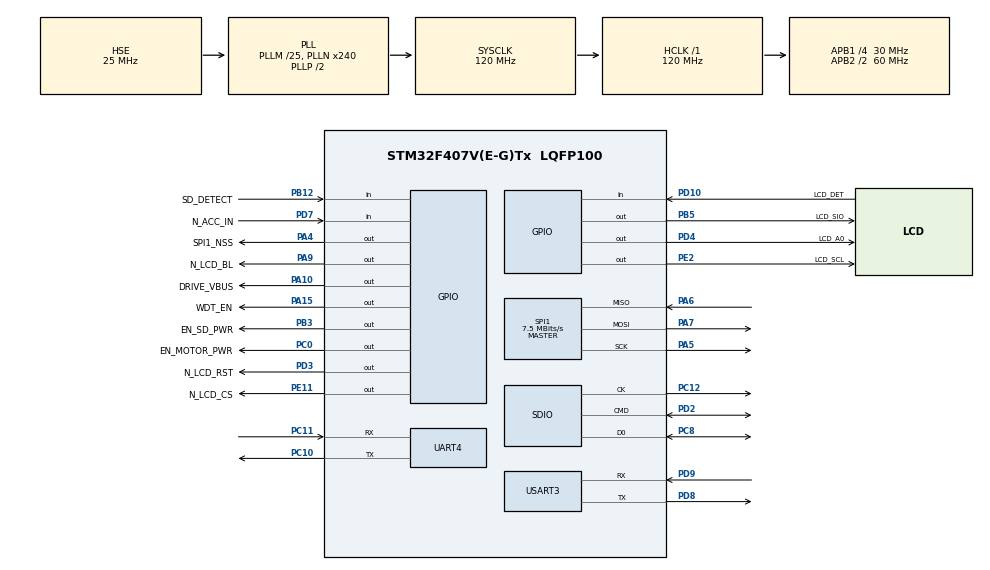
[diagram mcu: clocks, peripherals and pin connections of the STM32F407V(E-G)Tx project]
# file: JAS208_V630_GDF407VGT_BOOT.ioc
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FATFS.BSP.number=1
FATFS.USE_DMA_CODE_SD=1
FATFS._FS_LOCK=10
FATFS._FS_TIMEOUT=1000
FATFS._USE_LFN=2
FATFS._VOLUMES=3
FATFS0.BSP.STBoard=false
FATFS0.BSP.api=Unknown
FATFS0.BSP.i2caddr=0
FATFS0.BSP.instance=PB12
FATFS0.BSP.ip=GPIO
FATFS0.BSP.mode=Input
FATFS0.BSP.name=Detect_SDIO
FATFS0.BSP.solution=PB12
Mcu.Family=STM32F4
Mcu.Name=STM32F407V(E-G)Tx
Mcu.Package=LQFP100
NVIC.PriorityGroup=NVIC_PRIORITYGROUP_4
NVIC.TIM2_IRQn=true\:0\:0\:false\:false\:true\:false\:true
NVIC.TIM3_IRQn=true\:5\:0\:true\:false\:true\:true\:true
NVIC.TimeBase=TIM2_IRQn
NVIC.TimeBaseIP=TIM2
PA10.GPIO_Label=DRIVE_VBUS
PA10.GPIO_Speed=GPIO_SPEED_FREQ_HIGH
PA10.Signal=GPIO_Output
PA13.Mode=Serial_Wire
PA13.Signal=SYS_JTMS-SWDIO
PA14.Mode=Serial_Wire
PA14.Signal=SYS_JTCK-SWCLK
PA15.GPIO_Label=WDT_EN
PA15.GPIO_Speed=GPIO_SPEED_FREQ_HIGH
PA15.PinState=GPIO_PIN_SET
PA15.Signal=GPIO_Output
PA4.GPIO_Label=SPI1_NSS
PA4.GPIO_Speed=GPIO_SPEED_FREQ_HIGH
PA4.PinState=GPIO_PIN_SET
PA4.Signal=GPIO_Output
PA5.Mode=Full_Duplex_Master
PA5.Signal=SPI1_SCK
PA6.Mode=Full_Duplex_Master
PA6.Signal=SPI1_MISO
PA7.Mode=Full_Duplex_Master
PA7.Signal=SPI1_MOSI
PA9.GPIO_Label=N_LCD_BL
PA9.GPIO_Speed=GPIO_SPEED_FREQ_HIGH
PA9.PinState=GPIO_PIN_SET
PA9.Signal=GPIO_Output
PB12.GPIO_Label=SD_DETECT
PB12.Signal=GPIO_Input
PB3.GPIO_Label=EN_SD_PWR
PB3.GPIO_Speed=GPIO_SPEED_FREQ_VERY_HIGH
PB3.PinState=GPIO_PIN_RESET
PB3.Signal=GPIO_Output
PB5.GPIO_Label=LCD_SIO
PB5.GPIO_Speed=GPIO_SPEED_FREQ_HIGH
PB5.Signal=GPIO_Output
PC0.GPIO_Label=EN_MOTOR_PWR
PC0.GPIO_Speed=GPIO_SPEED_FREQ_HIGH
PC0.PinState=GPIO_PIN_SET
PC0.Signal=GPIO_Output
PC10.Mode=Asynchronous
PC10.Signal=UART4_TX
PC11.Mode=Asynchronous
PC11.Signal=UART4_RX
PC12.Mode=SD_1_bit
PC12.Signal=SDIO_CK
PC14-OSC32_IN.Mode=LSE-External-Oscillator
PC14-OSC32_IN.Signal=RCC_OSC32_IN
PC15-OSC32_OUT.Mode=LSE-External-Oscillator
PC15-OSC32_OUT.Signal=RCC_OSC32_OUT
PC8.Mode=SD_1_bit
PC8.Signal=SDIO_D0
PD10.GPIO_Label=LCD_DET
PD10.Signal=GPIO_Input
PD2.Mode=SD_1_bit
PD2.Signal=SDIO_CMD
PD3.GPIO_Label=N_LCD_RST
PD3.GPIO_Speed=GPIO_SPEED_FREQ_HIGH
PD3.PinState=GPIO_PIN_SET
PD3.Signal=GPIO_Output
PD4.GPIO_Label=LCD_A0
PD4.GPIO_Speed=GPIO_SPEED_FREQ_HIGH
PD4.Signal=GPIO_Output
PD7.GPIO_Label=N_ACC_IN
PD7.Signal=GPIO_Input
PD8.Mode=Asynchronous
PD8.Signal=USART3_TX
PD9.Mode=Asynchronous
PD9.Signal=USART3_RX
PE11.GPIO_Label=N_LCD_CS
PE11.GPIO_Speed=GPIO_SPEED_FREQ_HIGH
PE11.PinState=GPIO_PIN_SET
PE11.Signal=GPIO_Output
PE2.GPIO_Label=LCD_SCL
PE2.GPIO_Speed=GPIO_SPEED_FREQ_HIGH
PE2.Signal=GPIO_Output
PH0-OSC_IN.Mode=HSE-External-Oscillator
PH0-OSC_IN.Signal=RCC_OSC_IN
PH1-OSC_OUT.Mode=HSE-External-Oscillator
PH1-OSC_OUT.Signal=RCC_OSC_OUT
ProjectManager.HeapSize=0x2000
ProjectManager.StackSize=0x4000
ProjectManager.TargetToolchain=MDK-ARM V5.27
RCC.48MHZClocksFreq_Value=48000000
RCC.AHBFreq_Value=120000000
RCC.APB1CLKDivider=RCC_HCLK_DIV4
RCC.APB1Freq_Value=30000000
RCC.APB1TimFreq_Value=60000000
RCC.APB2CLKDivider=RCC_HCLK_DIV2
RCC.APB2Freq_Value=60000000
RCC.APB2TimFreq_Value=120000000
RCC.CortexFreq_Value=120000000
RCC.HCLKFreq_Value=120000000
RCC.HSEDivPLL=RCC_HSE_PREDIV_DIV5
RCC.HSE_Timout=100
RCC.HSE_VALUE=25000000
RCC.HSI_VALUE=16000000
RCC.PLLM=25
RCC.PLLMUL=RCC_PLL_MUL6
RCC.PLLN=240
RCC.PLLQ=5
RCC.PLLSourceVirtual=RCC_PLLSOURCE_HSE
RCC.Prediv1Source=RCC_PREDIV1_SOURCE_PLL2
RCC.Prediv2=RCC_HSE_PREDIV2_DIV5
RCC.RCC_RTC_Clock_Source=RCC_RTCCLKSOURCE_LSI
RCC.RCC_RTC_Clock_SourceVirtual=RCC_RTCCLKSOURCE_LSE
RCC.SYSCLKFreq_VALUE=120000000
RCC.SYSCLKSource=RCC_SYSCLKSOURCE_PLLCLK
RCC.USBFreq_Value=48000000
RCC.USBPrescaler=RCC_USBCLKSOURCE_PLL_DIV2
RCC.VCOOutputFreq_Value=240000000
SDIO.ClockDiv=1
SPI1.BaudRatePrescaler=SPI_BAUDRATEPRESCALER_8
SPI1.CLKPhase=SPI_PHASE_2EDGE
SPI1.CLKPolarity=SPI_POLARITY_HIGH
SPI1.CalculateBaudRate=7.5 MBits/s
SPI1.Direction=SPI_DIRECTION_2LINES
SPI1.Mode=SPI_MODE_MASTER
SPI1.VirtualType=VM_MASTER
TIM3.AutoReloadPreload=TIM_AUTORELOAD_PRELOAD_ENABLE
TIM3.CounterMode=TIM_COUNTERMODE_UP
TIM3.Period=9999
TIM3.Prescaler=11999
UART4.VirtualMode=Asynchronous
USART3.VirtualMode=VM_ASYNC
VP_FATFS_VS_Generic.Mode=User_defined
VP_FATFS_VS_SDIO.Mode=SDIO
VP_SYS_VS_tim2.Mode=TIM2
VP_TIM3_VS_ClockSourceINT.Mode=Internal
board=custom

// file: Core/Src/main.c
/* USER CODE BEGIN Header */
/**
 ******************************************************************************
 * @file           : main.c
 * @brief          : Main program body
 ******************************************************************************
 * @attention
 *
 * <h2><center>&copy; Copyright (c) 2019 STMicroelectronics.
 * All rights reserved.</center></h2>
 *
 * This software component is licensed by ST under Ultimate Liberty license
 * SLA0044, the "License"; You may not use this file except in compliance with
 * the License. You may obtain a copy of the License at:
 *                             www.st.com/SLA0044
 *
 ******************************************************************************
 */
/* USER CODE END Header */
#include "main.h"
#include "fatfs.h"

/* USER CODE BEGIN Includes */

#include <stdio.h>

#include "Config.h"
#include "Default.h"
#include "IAP_Func.h"
#include "LCD_Key.h"
#include "SD_Module.h"
#include "System.h"
#include "USB_Module.h"
#include "Version.h"

/* USER CODE END Includes */

SD_HandleTypeDef hsd;

SPI_HandleTypeDef hspi1;

TIM_HandleTypeDef htim3;

UART_HandleTypeDef huart4;
UART_HandleTypeDef huart3;

/* USER CODE BEGIN PV */

pFunction Jump_To_Application;

uint32_t JumpAddress;

/* USER CODE END PV */

void SystemClock_Config(void);
static void MX_GPIO_Init(void);
static void MX_SDIO_SD_Init(void);
static void MX_SPI1_Init(void);
static void MX_TIM3_Init(void);
static void MX_UART4_Init(void);
static void MX_USART3_UART_Init(void);
/* USER CODE BEGIN PFP */

#if ENABLE_DEBUG_MSG
#ifdef __GNUC__
#define PUTCHAR_PROTOTYPE int __io_putchar(int ch)
#else
#define PUTCHAR_PROTOTYPE int fputc(int ch, FILE *f)
#endif /* __GNUC__ */
#endif

static void JumpToApp(void);

static void DFUCheck(void);

/* USER CODE END PFP */

int main(void)
{

    /* MCU Configuration--------------------------------------------------------*/

    /* Reset of all peripherals, Initializes the Flash interface and the Systick. */
    HAL_Init();

    /* Configure the system clock */
    SystemClock_Config();

    /* Initialize all configured peripherals */
    MX_GPIO_Init();
    MX_SDIO_SD_Init();
    MX_SPI1_Init();
    MX_TIM3_Init();
    MX_UART4_Init();
    MX_USART3_UART_Init();
    MX_FATFS_Init();
    /* USER CODE BEGIN 2 */
    char cUpgradeFileName[30];

    HAL_PWR_EnableBkUpAccess();

    DFUCheck();

    System_Init();

    HAL_TIM_Base_Start_IT(&htim3);

    HAL_Delay(10);

    uint32_t u32BKP_DFU_CHK = HW_ReadBackupRegister(BKP_DFU_CHK);

    uint16_t u16TimeOut = 500;

    while (u16TimeOut-- && (bUSB_Ready == FALSE))
    {
        USBH_Process(&usb_host_msc);

        HAL_Delay(1);
    }

    // #if ENABLE_DEBUG_MSG
    // printf("\r\n> Check for Chinese font file...");
    // #endif

    if (bUSB_Ready)
        if (USB_CheckFileExist((char *)CHINESE_FONT_FILE))
        {
#if ENABLE_DEBUG_MSG
            printf("\r\n> Character font file exists in USB.");
#endif

            for (int i = 0; i < 3; i++)
            {
                bool bRes = IAP_SaveChineseFont(&USBHFatFS, USBHPath, DRV_USB);

                if (bRes)
                    break;
            }
        }

    if (SD_FS_GetStatus())
        if (SD_CheckFileExist((char *)CHINESE_FONT_FILE))
        {
#if ENABLE_DEBUG_MSG
            printf("\r\n> Character font file exists in SD.");
#endif

            for (int i = 0; i < 3; i++)
            {
                bool bRes = IAP_SaveChineseFont(&USERFatFS, USERPath, DRV_USER);

                if (bRes)
                    break;
            }
        }

    if (u32BKP_DFU_CHK == BKP_LOAD_VALUE)
    {
#if ENABLE_DEBUG_MSG
        printf("\r\n> Load firmware image from ExFlash.");
#endif

        HW_WriteBackupRegister(BKP_DFU_CHK, BKP_RST_VALUE);

        IAP_LoadFWImage();
    }

    sprintf(cUpgradeFileName, "%s_%02d_%02d_%02d.%s", DEVICE_TYPE,
            MODEL_NAME, CUSTOMER_TYPE, HW_VER, UPGRADE_FILE_EXT);

    // #if ENABLE_DEBUG_MSG
    // printf("\r\n> Check for upgrade file:%s...", cUpgradeFileName);
    // #endif

    for (int i = 0; i < 3; i++)
    {
        if (bUSB_Ready)
        {
            if (USB_CheckFileExist(cUpgradeFileName))
            {
#if ENABLE_DEBUG_MSG
                printf("\r\n> Upgrade file exists in USB.");
#endif

                IAP_Process(&USBHFatFS, USBHPath, DRV_USB);
            }
        }

        if (SD_FS_GetStatus())
            if (SD_CheckFileExist(cUpgradeFileName))
            {
#if ENABLE_DEBUG_MSG
                printf("\r\n> Upgrade file exists in SD.");
#endif

                IAP_Process(&USERFatFS, USERPath, DRV_USER);
            }

        HAL_Delay(1);
    }

    // Test if user code is programmed starting from user start code address
    if (((*(__IO uint32_t *)APPLICATION_ADDR) & 0x2FFE0000) == 0x20000000)
    {
        HW_WriteBackupRegister(BKP_DFU_CHK, BKP_JUMP_VALUE);

        // #if ENABLE_DEBUG_MSG
        // printf("\r\n>>> GO TO APPLICATION...\r\n");
        // #endif

        System_Reset();
    }
    else
    {
        const uint32_t u32ExFlashTempAddr = EXFLASH_TEMP_START_ADDR;
        uint32_t u32AddrChk = 0;
        uint32_t u32ProgSize = 0;
        MX25L_StatusTypeDef mxlRes;

#if ENABLE_DEBUG_MSG
        printf("\r\n>>> FOUND NO PROGRAM FOR APPLICATION!!! TRY TO REINSTALL BACKUP FIRMWARE...");
#endif

        mxlRes = MX25L_MultiBytesRead(u32ExFlashTempAddr, (uint8_t *)&u32AddrChk, 4);

        if (mxlRes == MX25L_OK)
        {
            if ((u32AddrChk & 0x2FFE0000) == 0x20000000)
            {
                // mxlRes = MX25L_MultiBytesRead(EXFLASH_TEMP_SIZE_START_ADDR, (uint8_t *)&u32ProgSize, 4);

                // if((mxlRes != MX25L_OK) || (u32ProgSize > (PROGRAM_SIZE - sizeof(mem32DatBuf))))
                //{
                //	u32ProgSize = PROGRAM_SIZE - sizeof(mem32DatBuf);
                // }

                u32ProgSize = PROGRAM_SIZE - sizeof(mem32DatBuf);

                HW_WriteBackupRegister(BKP_FW_SIZE, u32ProgSize);

                IAP_LoadFWImage();
            }
            else
            {
#if ENABLE_DEBUG_MSG
                printf("\r\n>>> NO VALID BACKUP FIRMWARE. PLEASE REINSTALL FIRMWARE");
#endif
            }
        }
        else
        {
#if ENABLE_DEBUG_MSG
            printf("\r\n>>> NO VALID BACKUP FIRMWARE. PLEASE REINSTALL FIRMWARE");
#endif
        }
    }

    /* USER CODE END 2 */

    /* Infinite loop */
    /* USER CODE BEGIN WHILE */
#if HW_TYPE == HW_JAS106
    uint16_t u16Cnt = 0;
#elif HW_TYPE == HW_JAS208
    const char cMsg1[] = "No firmware";

    System_IO_3V3_Enable();

    HAL_Delay(100);

    // Only show screen if ACC is ON
    if (HW_PBGetState(N_ACC_IN) == 0)
        LCD_Init();

    LCD_ScreenClear();

    LCD_DisplayMsg((char *)cMsg1, 1, 1);
#endif

    while (1)
    {
        USBH_Process(&usb_host_msc);
        /* USER CODE END WHILE */

        /* USER CODE BEGIN 3 */
        if (bUSB_Ready)
            if (USB_CheckFileExist(cUpgradeFileName))
            {
#if ENABLE_DEBUG_MSG
                printf("\r\n> Upgrade file exists in USB.");
#endif

                LCD_DisplayMsg((char *)cMsg1, 1, 1);

                IAP_Process(&USBHFatFS, USBHPath, DRV_USB);
            }

        if (SD_FS_GetStatus())
            if (SD_CheckFileExist(cUpgradeFileName))
            {
#if ENABLE_DEBUG_MSG
                printf("\r\n> Upgrade file exists in SD.");
#endif

                IAP_Process(&USERFatFS, USERPath, DRV_USER);
            }

#if HW_TYPE == HW_JAS106
        u16Cnt++;

        if (u16Cnt == 30)
        {
            HW_PBClr(LED7);
        }
        else if (u16Cnt == 60)
        {
            HW_PBSet(LED7);

            u16Cnt = 0;
        }
#endif

        // HAL_Delay(1);
    }
    /* USER CODE END 3 */
}

void SystemClock_Config(void)
{
    RCC_OscInitTypeDef RCC_OscInitStruct = {0};
    RCC_ClkInitTypeDef RCC_ClkInitStruct = {0};

    /** Configure the main internal regulator output voltage
     */
    __HAL_RCC_PWR_CLK_ENABLE();
    __HAL_PWR_VOLTAGESCALING_CONFIG(PWR_REGULATOR_VOLTAGE_SCALE1);
    /** Initializes the RCC Oscillators according to the specified parameters
     * in the RCC_OscInitTypeDef structure.
     */
    RCC_OscInitStruct.OscillatorType = RCC_OSCILLATORTYPE_HSE;
    RCC_OscInitStruct.HSEState = RCC_HSE_ON;
    RCC_OscInitStruct.PLL.PLLState = RCC_PLL_ON;
    RCC_OscInitStruct.PLL.PLLSource = RCC_PLLSOURCE_HSE;
    RCC_OscInitStruct.PLL.PLLM = 25;
    RCC_OscInitStruct.PLL.PLLN = 240;
    RCC_OscInitStruct.PLL.PLLP = RCC_PLLP_DIV2;
    RCC_OscInitStruct.PLL.PLLQ = 5;
    if (HAL_RCC_OscConfig(&RCC_OscInitStruct) != HAL_OK)
    {
        Error_Handler();
    }
    /** Initializes the CPU, AHB and APB buses clocks
     */
    RCC_ClkInitStruct.ClockType = RCC_CLOCKTYPE_HCLK | RCC_CLOCKTYPE_SYSCLK | RCC_CLOCKTYPE_PCLK1 | RCC_CLOCKTYPE_PCLK2;
    RCC_ClkInitStruct.SYSCLKSource = RCC_SYSCLKSOURCE_PLLCLK;
    RCC_ClkInitStruct.AHBCLKDivider = RCC_SYSCLK_DIV1;
    RCC_ClkInitStruct.APB1CLKDivider = RCC_HCLK_DIV4;
    RCC_ClkInitStruct.APB2CLKDivider = RCC_HCLK_DIV2;

    if (HAL_RCC_ClockConfig(&RCC_ClkInitStruct, FLASH_LATENCY_3) != HAL_OK)
    {
        Error_Handler();
    }
}

static void MX_SDIO_SD_Init(void)
{

    hsd.Instance = SDIO;
    hsd.Init.ClockEdge = SDIO_CLOCK_EDGE_RISING;
    hsd.Init.ClockBypass = SDIO_CLOCK_BYPASS_DISABLE;
    hsd.Init.ClockPowerSave = SDIO_CLOCK_POWER_SAVE_DISABLE;
    hsd.Init.BusWide = SDIO_BUS_WIDE_1B;
    hsd.Init.HardwareFlowControl = SDIO_HARDWARE_FLOW_CONTROL_DISABLE;
    hsd.Init.ClockDiv = 1;
}

static void MX_SPI1_Init(void)
{

    /* SPI1 parameter configuration*/
    hspi1.Instance = SPI1;
    hspi1.Init.Mode = SPI_MODE_MASTER;
    hspi1.Init.Direction = SPI_DIRECTION_2LINES;
    hspi1.Init.DataSize = SPI_DATASIZE_8BIT;
    hspi1.Init.CLKPolarity = SPI_POLARITY_HIGH;
    hspi1.Init.CLKPhase = SPI_PHASE_2EDGE;
    hspi1.Init.NSS = SPI_NSS_SOFT;
    hspi1.Init.BaudRatePrescaler = SPI_BAUDRATEPRESCALER_8;
    hspi1.Init.FirstBit = SPI_FIRSTBIT_MSB;
    hspi1.Init.TIMode = SPI_TIMODE_DISABLE;
    hspi1.Init.CRCCalculation = SPI_CRCCALCULATION_DISABLE;
    hspi1.Init.CRCPolynomial = 10;
    if (HAL_SPI_Init(&hspi1) != HAL_OK)
    {
        Error_Handler();
    }
}

static void MX_TIM3_Init(void)
{

    TIM_ClockConfigTypeDef sClockSourceConfig = {0};
    TIM_MasterConfigTypeDef sMasterConfig = {0};

    htim3.Instance = TIM3;
    htim3.Init.Prescaler = 11999;
    htim3.Init.CounterMode = TIM_COUNTERMODE_UP;
    htim3.Init.Period = 9999;
    htim3.Init.ClockDivision = TIM_CLOCKDIVISION_DIV1;
    htim3.Init.AutoReloadPreload = TIM_AUTORELOAD_PRELOAD_ENABLE;
    if (HAL_TIM_Base_Init(&htim3) != HAL_OK)
    {
        Error_Handler();
    }
    sClockSourceConfig.ClockSource = TIM_CLOCKSOURCE_INTERNAL;
    if (HAL_TIM_ConfigClockSource(&htim3, &sClockSourceConfig) != HAL_OK)
    {
        Error_Handler();
    }
    sMasterConfig.MasterOutputTrigger = TIM_TRGO_RESET;
    sMasterConfig.MasterSlaveMode = TIM_MASTERSLAVEMODE_DISABLE;
    if (HAL_TIMEx_MasterConfigSynchronization(&htim3, &sMasterConfig) != HAL_OK)
    {
        Error_Handler();
    }
}

static void MX_UART4_Init(void)
{

    huart4.Instance = UART4;
    huart4.Init.BaudRate = 115200;
    huart4.Init.WordLength = UART_WORDLENGTH_8B;
    huart4.Init.StopBits = UART_STOPBITS_1;
    huart4.Init.Parity = UART_PARITY_NONE;
    huart4.Init.Mode = UART_MODE_TX_RX;
    huart4.Init.HwFlowCtl = UART_HWCONTROL_NONE;
    huart4.Init.OverSampling = UART_OVERSAMPLING_16;
    if (HAL_UART_Init(&huart4) != HAL_OK)
    {
        Error_Handler();
    }
}

static void MX_USART3_UART_Init(void)
{

    huart3.Instance = USART3;
    huart3.Init.BaudRate = 115200;
    huart3.Init.WordLength = UART_WORDLENGTH_8B;
    huart3.Init.StopBits = UART_STOPBITS_1;
    huart3.Init.Parity = UART_PARITY_NONE;
    huart3.Init.Mode = UART_MODE_TX_RX;
    huart3.Init.HwFlowCtl = UART_HWCONTROL_NONE;
    huart3.Init.OverSampling = UART_OVERSAMPLING_16;
    if (HAL_UART_Init(&huart3) != HAL_OK)
    {
        Error_Handler();
    }
}

static void MX_GPIO_Init(void)
{
    GPIO_InitTypeDef GPIO_InitStruct = {0};

    /* GPIO Ports Clock Enable */
    __HAL_RCC_GPIOE_CLK_ENABLE();
    __HAL_RCC_GPIOC_CLK_ENABLE();
    __HAL_RCC_GPIOH_CLK_ENABLE();
    __HAL_RCC_GPIOA_CLK_ENABLE();
    __HAL_RCC_GPIOB_CLK_ENABLE();
    __HAL_RCC_GPIOD_CLK_ENABLE();

    /*Configure GPIO pin Output Level */
    HAL_GPIO_WritePin(LCD_SCL_GPIO_Port, LCD_SCL_Pin, GPIO_PIN_RESET);

    /*Configure GPIO pin Output Level */
    HAL_GPIO_WritePin(EN_MOTOR_PWR_GPIO_Port, EN_MOTOR_PWR_Pin, GPIO_PIN_SET);

    /*Configure GPIO pin Output Level */
    HAL_GPIO_WritePin(GPIOA, SPI1_NSS_Pin | N_LCD_BL_Pin | WDT_EN_Pin, GPIO_PIN_SET);

    /*Configure GPIO pin Output Level */
    HAL_GPIO_WritePin(N_LCD_CS_GPIO_Port, N_LCD_CS_Pin, GPIO_PIN_SET);

    /*Configure GPIO pin Output Level */
    HAL_GPIO_WritePin(DRIVE_VBUS_GPIO_Port, DRIVE_VBUS_Pin, GPIO_PIN_RESET);

    /*Configure GPIO pin Output Level */
    HAL_GPIO_WritePin(N_LCD_RST_GPIO_Port, N_LCD_RST_Pin, GPIO_PIN_SET);

    /*Configure GPIO pin Output Level */
    HAL_GPIO_WritePin(LCD_A0_GPIO_Port, LCD_A0_Pin, GPIO_PIN_RESET);

    /*Configure GPIO pin Output Level */
    HAL_GPIO_WritePin(GPIOB, EN_SD_PWR_Pin | LCD_SIO_Pin, GPIO_PIN_RESET);

    /*Configure GPIO pins : LCD_SCL_Pin N_LCD_CS_Pin */
    GPIO_InitStruct.Pin = LCD_SCL_Pin | N_LCD_CS_Pin;
    GPIO_InitStruct.Mode = GPIO_MODE_OUTPUT_PP;
    GPIO_InitStruct.Pull = GPIO_NOPULL;
    GPIO_InitStruct.Speed = GPIO_SPEED_FREQ_HIGH;
    HAL_GPIO_Init(GPIOE, &GPIO_InitStruct);

    /*Configure GPIO pin : EN_MOTOR_PWR_Pin */
    GPIO_InitStruct.Pin = EN_MOTOR_PWR_Pin;
    GPIO_InitStruct.Mode = GPIO_MODE_OUTPUT_PP;
    GPIO_InitStruct.Pull = GPIO_NOPULL;
    GPIO_InitStruct.Speed = GPIO_SPEED_FREQ_HIGH;
    HAL_GPIO_Init(EN_MOTOR_PWR_GPIO_Port, &GPIO_InitStruct);

    /*Configure GPIO pins : SPI1_NSS_Pin N_LCD_BL_Pin DRIVE_VBUS_Pin WDT_EN_Pin */
    GPIO_InitStruct.Pin = SPI1_NSS_Pin | N_LCD_BL_Pin | DRIVE_VBUS_Pin | WDT_EN_Pin;
    GPIO_InitStruct.Mode = GPIO_MODE_OUTPUT_PP;
    GPIO_InitStruct.Pull = GPIO_NOPULL;
    GPIO_InitStruct.Speed = GPIO_SPEED_FREQ_HIGH;
    HAL_GPIO_Init(GPIOA, &GPIO_InitStruct);

    /*Configure GPIO pin : SD_DETECT_Pin */
    GPIO_InitStruct.Pin = SD_DETECT_Pin;
    GPIO_InitStruct.Mode = GPIO_MODE_INPUT;
    GPIO_InitStruct.Pull = GPIO_NOPULL;
    HAL_GPIO_Init(SD_DETECT_GPIO_Port, &GPIO_InitStruct);

    /*Configure GPIO pins : LCD_DET_Pin N_ACC_IN_Pin */
    GPIO_InitStruct.Pin = LCD_DET_Pin | N_ACC_IN_Pin;
    GPIO_InitStruct.Mode = GPIO_MODE_INPUT;
    GPIO_InitStruct.Pull = GPIO_NOPULL;
    HAL_GPIO_Init(GPIOD, &GPIO_InitStruct);

    /*Configure GPIO pins : N_LCD_RST_Pin LCD_A0_Pin */
    GPIO_InitStruct.Pin = N_LCD_RST_Pin | LCD_A0_Pin;
    GPIO_InitStruct.Mode = GPIO_MODE_OUTPUT_PP;
    GPIO_InitStruct.Pull = GPIO_NOPULL;
    GPIO_InitStruct.Speed = GPIO_SPEED_FREQ_HIGH;
    HAL_GPIO_Init(GPIOD, &GPIO_InitStruct);

    /*Configure GPIO pin : EN_SD_PWR_Pin */
    GPIO_InitStruct.Pin = EN_SD_PWR_Pin;
    GPIO_InitStruct.Mode = GPIO_MODE_OUTPUT_PP;
    GPIO_InitStruct.Pull = GPIO_NOPULL;
    GPIO_InitStruct.Speed = GPIO_SPEED_FREQ_VERY_HIGH;
    HAL_GPIO_Init(EN_SD_PWR_GPIO_Port, &GPIO_InitStruct);

    /*Configure GPIO pin : LCD_SIO_Pin */
    GPIO_InitStruct.Pin = LCD_SIO_Pin;
    GPIO_InitStruct.Mode = GPIO_MODE_OUTPUT_PP;
    GPIO_InitStruct.Pull = GPIO_NOPULL;
    GPIO_InitStruct.Speed = GPIO_SPEED_FREQ_HIGH;
    HAL_GPIO_Init(LCD_SIO_GPIO_Port, &GPIO_InitStruct);
}

/* USER CODE BEGIN 4 */

#if ENABLE_DEBUG_MSG
/**
 * @brief  Retargets the C library printf function to the USART.
 * @param  None
 * @retval None
 */
PUTCHAR_PROTOTYPE
{
    if (IsMainRS232_SET())
        HAL_UART_Transmit(&huart3, (uint8_t *)&ch, 1, 0xFFFF);
    else
        HAL_UART_Transmit(&huart4, (uint8_t *)&ch, 1, 0xFFFF);

    return ch;
}
#endif

//============================================================================//
// @brief  Go to the application program.
// @param  None.
// @retval None.
//============================================================================//
static void JumpToApp(void)
{
    // Jump to user application
    JumpAddress = *(__IO uint32_t *)(APPLICATION_ADDR + 4);

    Jump_To_Application = (pFunction)JumpAddress;

    HAL_DeInit();

    SysTick->CTRL = 0;
    SysTick->LOAD = 0;
    SysTick->VAL = 0;

    // Initialize user application's Stack Pointer
    __set_MSP(*(__IO uint32_t *)APPLICATION_ADDR);

    Jump_To_Application();
}

//============================================================================//
// @brief  Check if the system needs to go to the application program.
// @param  None.
// @retval None.
//============================================================================//
static void DFUCheck(void)
{
    uint32_t u32ChkVal;

    u32ChkVal = HW_ReadBackupRegister(BKP_SLEEP_CHK);

    if (u32ChkVal == BKP_SLEEP_VALUE)
    {
        // Test if user code is programmed starting from user start code address
        if (((*(__IO uint32_t *)APPLICATION_ADDR) & 0x2FFE0000) == 0x20000000)
        {
            // #if ENABLE_DEBUG_MSG
            // printf("\r\n> BOOT JUMP TO SLEEP.");
            // #endif

            // If ACC is ON
            if (HW_PBGetState(N_ACC_IN) == 0)
            {
                HW_WriteBackupRegister(BKP_SLEEP_CHK, BKP_RST_VALUE);
            }

            JumpToApp();
        }
    }

    u32ChkVal = HW_ReadBackupRegister(BKP_DFU_CHK);

    if (u32ChkVal == BKP_JUMP_VALUE)
    {
        HW_WriteBackupRegister(BKP_DFU_CHK, BKP_RST_VALUE);

        // Test if user code is programmed starting from user start code address
        if (((*(__IO uint32_t *)APPLICATION_ADDR) & 0x2FFE0000) == 0x20000000)
        {
            // #if ENABLE_DEBUG_MSG
            // printf("\r\n> BOOT JUMP TO APP.");
            // #endif

            JumpToApp();
        }
    }
}

/* USER CODE END 4 */

void HAL_TIM_PeriodElapsedCallback(TIM_HandleTypeDef *htim)
{
    if (htim->Instance == TIM2)
    {
        HAL_IncTick();
    }
}

void Error_Handler(void)
{
}
